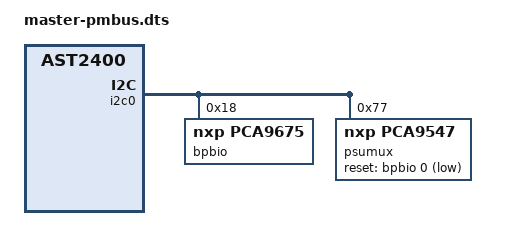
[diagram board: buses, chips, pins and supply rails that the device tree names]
/dts-v1/;
/plugin/;

#include <dt-bindings/gpio/gpio.h>
#include <dt-bindings/gpio/aspeed-gpio.h>

/ {
	compatible = "aspeed,ast2400";

	fragment@0 {
		target = <&i2c0>;
		__overlay__ {
			status = "okay";
			bpbio: gpio-expander@18 {
				compatible = "nxp,pca9675";
				gpio-controller;
				#gpio-cells = <2>;
				reg = <0x18>;
				lines-initial-states = <0x1>;
			};

			psumux@70 {
				compatible = "nxp,pca9547";
				#address-cells = <1>;
				#size-cells = <0>;
				reg = <0x77>;
				reset-gpios = <&bpbio 0 GPIO_ACTIVE_LOW>;
				i2c-mux-idle-disconnect = <0xff>;

				shelf@0 {
					#address-cells = <1>;
					#size-cells = <0>;
					reg = <0>;
					fru {
						compatible = "atmel,24c02";
						reg = <0x50>;
						/* pagesize = <16>; */
					};

					pmbus {
						compatible = "general,pmbus";
						reg = <0x10>;
					};
				};

				shelf@1 {
					#address-cells = <1>;
					#size-cells = <0>;
					reg = <1>;

					fru {
						compatible = "atmel,24c02";
						reg = <0x50>;
						/* pagesize = <16>; */
					};

					pmbus {
						compatible = "general,pmbus";
						reg = <0x10>;
					};
				};

				shelf@2 {
					#address-cells = <1>;
					#size-cells = <0>;
					reg = <2>;

					fru {
						compatible = "atmel,24c02";
						reg = <0x50>;
						/* pagesize = <16>; */
					};

					pmbus {
						compatible = "general,pmbus";
						reg = <0x10>;
					};
				};

				shelf@3 {
					#address-cells = <1>;
					#size-cells = <0>;
					reg = <3>;

					fru {
						compatible = "atmel,24c02";
						reg = <0x50>;
						/* pagesize = <16>; */
					};

					pmbus {
						compatible = "general,pmbus";
						reg = <0x10>;
					};
				};

				shelf@4 {
					#address-cells = <1>;
					#size-cells = <0>;
					reg = <4>;

					fru {
						compatible = "atmel,24c02";
						reg = <0x50>;
						/* pagesize = <16>; */
					};

					pmbus {
						compatible = "general,pmbus";
						reg = <0x10>;
					};
				};

				shelf@5 {
					#address-cells = <1>;
					#size-cells = <0>;
					reg = <5>;

					fru {
						compatible = "atmel,24c02";
						reg = <0x50>;
						/* pagesize = <16>; */
					};

					pmbus {
						compatible = "general,pmbus";
						reg = <0x10>;
					};
				};

				shelf@6 {
					#address-cells = <1>;
					#size-cells = <0>;
					reg = <6>;

					fru {
						compatible = "atmel,24c02";
						reg = <0x50>;
						/* pagesize = <16>; */
					};

					pmbus {
						compatible = "general,pmbus";
						reg = <0x10>;
					};
				};
			};
		};
	};
};
